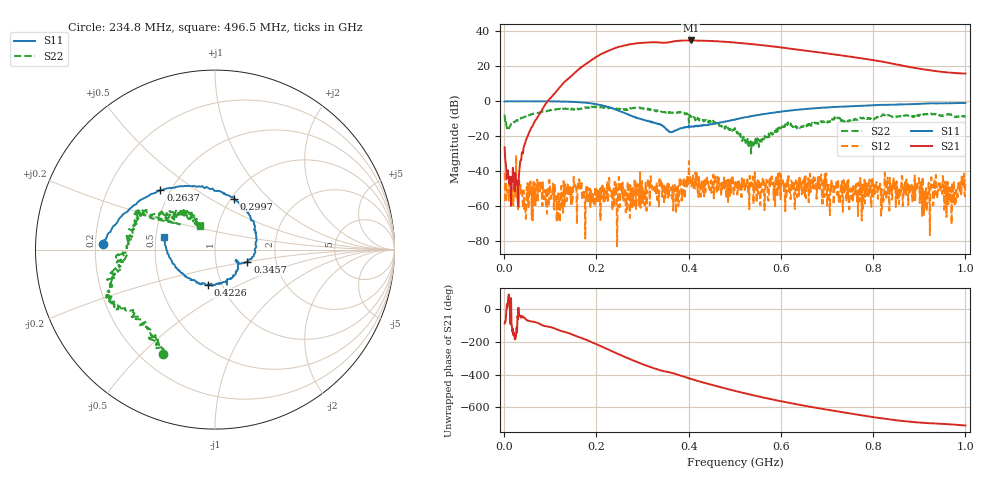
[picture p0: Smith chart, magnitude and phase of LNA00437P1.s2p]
! Created with skrf 1.9.0 (http://scikit-rf.org).
# Hz S RI R 50.0
!freq ReS11 ImS11 ReS21 ImS21 ReS12 ImS12 ReS22 ImS22
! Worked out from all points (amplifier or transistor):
!   1001 points, 1 MHz to 1 GHz, reference 50 ohm
!   highest |S21| = 34.8 dB at 404.6 MHz (marker M1)
!   |S21| within 3 dB of that: 259.3 MHz to 568.8 MHz (309.5 MHz wide, 74.8 % of centre)
!   unconditionally stable (mu >= 1): 248.9 MHz to 294.4 MHz; 295 MHz to 400.3 MHz; 401 MHz to end of sweep (the widest 3 of 27)
!   at 166.8 MHz: K = 0.74, MSG = 34.1 dB, |S12| = -48.8 dB
!   at 500.5 MHz: K = 1.92, MAG = 34.1 dB, |S12| = -45.6 dB
!   at 1 GHz: K = 2.51, MAG = 23.5 dB, |S12| = -44.8 dB
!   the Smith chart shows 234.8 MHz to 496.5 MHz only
!   S11 on the Smith chart (normalised r, x): 234.8 MHz: 0.23, +0.02; 263.7 MHz: 0.44, +0.37; 299.7 MHz: 1.03, +0.65; 345.7 MHz: 1.42, -0.21; 422.6 MHz: 0.86, -0.35; 496.5 MHz: 0.55, +0.08
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1000000  0.9856 0.0135  0.00295 -0.0484  -0.0088 0.00152  0.2861 0.2962
1.09891e8  0.5118 -0.8524  -0.8072 -1.513  -0.00273 -0.00299  0.4494 -0.3757
1.67833e8  -0.2276 -0.9023  -9.566 -0.7598  -0.00327 0.00324  0.0514 -0.6248
2.07793e8  -0.6602 -0.4213  -15.79 14.68  0.00204 -0.0024  -0.1861 -0.6547
2.34766e8  -0.626 0.0324  -6.634 30.73  0.000746 3.22e-05  -0.2887 -0.5807
2.63737e8  -0.3037 0.3312  16.42 36.71  -0.000343 0.000563  -0.4639 -0.3738
2.81719e8  -0.0791 0.3502  31.53 31.42  -0.00103 -0.00024  -0.5619 -0.289
2.99701e8  0.1064 0.2837  42.93 20.1  -0.00132 0.00259  -0.5919 -0.2281
3.34666e8  0.2211 0.00167  47.76 -8.278  0.000114 -0.00214  -0.5507 -0.045
3.45655e8  0.1802 -0.0695  45.17 -14.7  -0.00255 0.0033  -0.4889 0.0168
3.72628e8  0.1285 -0.0739  42.9 -31.55  -0.000628 -4.28e-05  -0.4306 0.1767
4.04596e8  0.0528 -0.1796  22.64 -50.34  0.00106 0.00384  -0.3136 0.1876
4.22578e8  -0.0404 -0.1975  9.003 -53.8  0.00217 0.00646  -0.2166 0.1817
4.55545e8  -0.1901 -0.128  -15.06 -50.42  0.00386 0.00084  -0.1429 0.1974
4.96504e8  -0.2848 0.0685  -35 -33.42  0.00338 -0.00133  -0.0825 0.1302
5.005e8  -0.2827 0.0868  -36.6 -31.53  -0.00361 -0.00381  -0.1191 0.1214
5.4046e8  -0.2416 0.3019  -41.54 -10.45  -0.00111 0.000258  -0.0545 0.00141
5.88412e8  -0.0544 0.4797  -35.12 9.866  0.00407 -0.00449  -0.1113 -0.0817
6.67333e8  0.3193 0.5339  -13.95 22.56  -0.00203 -0.00374  -0.2363 -0.0404
7.53247e8  0.6203 0.373  2.828 18.49  0.00157 -0.000333  -0.2722 0.0439
8.34166e8  0.7805 0.1507  8.49 9.209  -0.0018 0.000126  -0.3852 0.0855
1e9  0.815 -0.3839  6.159 1.034  0.00303 -0.00486  -0.1256 0.3517
